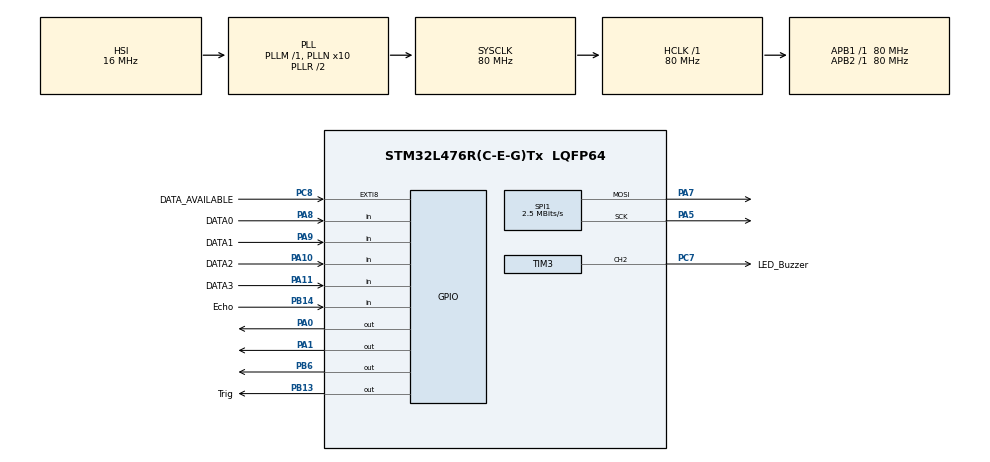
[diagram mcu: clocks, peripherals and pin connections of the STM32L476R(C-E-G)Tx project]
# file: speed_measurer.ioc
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Mcu.Family=STM32L4
Mcu.Name=STM32L476R(C-E-G)Tx
Mcu.Package=LQFP64
NVIC.EXTI9_5_IRQn=true\:0\:0\:false\:false\:true\:true\:true\:true
NVIC.PriorityGroup=NVIC_PRIORITYGROUP_4
PA0.Signal=GPIO_Output
PA1.Signal=GPIO_Output
PA10.GPIO_Label=DATA2
PA10.Signal=GPIO_Input
PA11.GPIO_Label=DATA3
PA11.Signal=GPIO_Input
PA13\ (JTMS-SWDIO).GPIO_Label=TMS
PA13\ (JTMS-SWDIO).Mode=Serial_Wire
PA13\ (JTMS-SWDIO).Signal=SYS_JTMS-SWDIO
PA14\ (JTCK-SWCLK).GPIO_Label=TCK
PA14\ (JTCK-SWCLK).Mode=Serial_Wire
PA14\ (JTCK-SWCLK).Signal=SYS_JTCK-SWCLK
PA5.Mode=TX_Only_Simplex_Unidirect_Master
PA5.Signal=SPI1_SCK
PA7.Mode=TX_Only_Simplex_Unidirect_Master
PA7.Signal=SPI1_MOSI
PA8.GPIO_Label=DATA0
PA8.Signal=GPIO_Input
PA9.GPIO_Label=DATA1
PA9.Signal=GPIO_Input
PB13.GPIO_Label=Trig
PB13.Signal=GPIO_Output
PB14.GPIO_Label=Echo
PB14.Signal=GPIO_Input
PB3\ (JTDO-TRACESWO).GPIO_Label=SWO
PB3\ (JTDO-TRACESWO).Signal=SYS_JTDO-SWO
PB6.Signal=GPIO_Output
PC14-OSC32_IN\ (PC14).Mode=LSE-External-Oscillator
PC14-OSC32_IN\ (PC14).Signal=RCC_OSC32_IN
PC15-OSC32_OUT\ (PC15).Mode=LSE-External-Oscillator
PC15-OSC32_OUT\ (PC15).Signal=RCC_OSC32_OUT
PC7.GPIO_Label=LED_Buzzer
PC7.Signal=S_TIM3_CH2
PC8.GPIO_Label=DATA_AVAILABLE
PC8.Signal=GPXTI8
PH0-OSC_IN\ (PH0).Mode=HSE-External-Oscillator
PH0-OSC_IN\ (PH0).Signal=RCC_OSC_IN
PH1-OSC_OUT\ (PH1).Mode=HSE-External-Oscillator
PH1-OSC_OUT\ (PH1).Signal=RCC_OSC_OUT
ProjectManager.HeapSize=0x200
ProjectManager.StackSize=0x400
ProjectManager.TargetToolchain=STM32CubeIDE
RCC.ADCFreq_Value=64000000
RCC.AHBFreq_Value=80000000
RCC.APB1Freq_Value=80000000
RCC.APB1TimFreq_Value=80000000
RCC.APB2Freq_Value=80000000
RCC.APB2TimFreq_Value=80000000
RCC.CortexFreq_Value=80000000
RCC.HCLKFreq_Value=80000000
RCC.HSE_VALUE=8000000
RCC.HSI_VALUE=16000000
RCC.MSI_VALUE=4000000
RCC.PLLN=10
RCC.PLLSourceVirtual=RCC_PLLSOURCE_HSI
RCC.PREFETCH_ENABLE=1
RCC.SYSCLKFreq_VALUE=80000000
RCC.SYSCLKSource=RCC_SYSCLKSOURCE_PLLCLK
RCC.USBFreq_Value=64000000
RCC.VCOOutputFreq_Value=160000000
SH.S_TIM3_CH2.0=TIM3_CH2,PWM Generation2 CH2
SPI1.BaudRatePrescaler=SPI_BAUDRATEPRESCALER_32
SPI1.CalculateBaudRate=2.5 MBits/s
SPI1.DataSize=SPI_DATASIZE_8BIT
SPI1.Direction=SPI_DIRECTION_2LINES
SPI1.Mode=SPI_MODE_MASTER
SPI1.VirtualType=VM_MASTER
TIM1.Prescaler=79
TIM3.AutoReloadPreload=TIM_AUTORELOAD_PRELOAD_ENABLE
TIM3.Channel-PWM\ Generation2\ CH2=TIM_CHANNEL_2
TIM3.Period=39999
VP_TIM1_VS_ClockSourceINT.Mode=Internal
VP_TIM3_VS_ClockSourceINT.Mode=Internal
board=NUCLEO-L476RG

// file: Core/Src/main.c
/* USER CODE BEGIN Header */
/**
  ******************************************************************************
  * @file           : main.c
  * @brief          : Main program body
  ******************************************************************************
  * @attention
  *
  * Copyright (c) 2025 STMicroelectronics.
  * All rights reserved.
  *
  * This software is licensed under terms that can be found in the LICENSE file
  * in the root directory of this software component.
  * If no LICENSE file comes with this software, it is provided AS-IS.
  *
  ******************************************************************************
  */
/* USER CODE END Header */
#include "main.h"

/* USER CODE BEGIN Includes */
#include <math.h>
#include <stdio.h>
#include <stdint.h>
/* USER CODE END Includes */

/* USER CODE BEGIN PM */
#define CE_PORT GPIOB 		// PB6 chip enable (aka slave select)
#define CE_PIN GPIO_PIN_6
#define DC_PORT GPIOA 		// PA0 data/control
#define DC_PIN GPIO_PIN_0
#define RESET_PORT GPIOA 	// PA1 reset
#define RESET_PIN GPIO_PIN_1
#define GLCD_WIDTH 84
#define GLCD_HEIGHT 48
#define NUM_BANKS 6
/* USER CODE END PM */

SPI_HandleTypeDef hspi1;

TIM_HandleTypeDef htim1;
TIM_HandleTypeDef htim3;

/* USER CODE BEGIN PV */
uint32_t pMillis;
uint32_t val1 = 0;
uint32_t val2 = 0;
uint16_t distance  = 0;
uint16_t old_distance = 0;
uint16_t next_bank = 42;
uint8_t speed_limit_digits = 0; // start the speed limit at 0
uint8_t caution_speed = 0; 		// start the caution speed limit at 0
int speed = 0;
int speed250 = 0;

const char font_table[][6] = {
	{0x00, 0x00, 0x00, 0x00, 0x00, 0x00}, // space	0
	{0x7E, 0x11, 0x11, 0x11, 0x7E, 0x00}, // 'A'	1
	{0x7F, 0x49, 0x49, 0x49, 0x36, 0x00}, // 'B'	2
	{0x3E, 0x41, 0x41, 0x41, 0x22, 0x00}, // 'C'	3
	{0x00, 0x7F, 0x41, 0x41, 0x22, 0x1C}, // 'D'	4
	{0x00, 0x7F, 0x49, 0x49, 0x49, 0x49}, // 'E'	5
	{0x00, 0x7F, 0x09, 0x09, 0x09, 0x09}, // 'F'	6
	{0x3E, 0x41, 0x49, 0x49, 0x49, 0x7A}, // 'G'	7
	{0x7F, 0x08, 0x08, 0x08, 0x7F, 0x00}, // 'H'	8
	{0x00, 0x41, 0x7F, 0x41, 0x00, 0x00}, // 'I'	9
	{0x30, 0x40, 0x40, 0x40, 0x3F, 0x00}, // 'J'	10
	{0x7F, 0x08, 0x14, 0x22, 0x41, 0x00}, // 'K'	11
	{0x00, 0x7F, 0x40, 0x40, 0x40, 0x40}, // 'L'	12
	{0x7F, 0x02, 0x0C, 0x02, 0x7F, 0x00}, // 'M'	13
	{0x7F, 0x04, 0x08, 0x10, 0x7F, 0x00}, // 'N'	14
	{0x3E, 0x41, 0x41, 0x41, 0x3E, 0x00}, // 'O'	15
	{0x7F, 0x09, 0x09, 0x09, 0x06, 0x00}, // 'P'	16
	{0x3E, 0x41, 0x51, 0x21, 0x5E, 0x00}, // 'Q'	17
	{0x7F, 0x09, 0x19, 0x29, 0x46, 0x00}, // 'R'	18
	{0x46, 0x49, 0x49, 0x49, 0x31, 0x00}, // 'S'	19
	{0x01, 0x01, 0x7F, 0x01, 0x01, 0x00}, // 'T'	20
	{0x3F, 0x40, 0x40, 0x40, 0x3F, 0x00}, // 'U'	21
	{0x1F, 0x20, 0x40, 0x20, 0x1F, 0x00}, // 'V'	22
	{0x3F, 0x40, 0x38, 0x40, 0x3F, 0x00}, // 'W'	23
	{0x63, 0x14, 0x08, 0x14, 0x63, 0x00}, // 'X'	24
	{0x07, 0x08, 0x70, 0x08, 0x07, 0x00}, // 'Y'	25
	{0x61, 0x51, 0x49, 0x45, 0x43, 0x00}, // 'Z'	26
	{0x00, 0x00, 0x5F, 0x00, 0x00, 0x00}, // '!'	27
	{0x00, 0x00, 0x7E, 0x81, 0xB5, 0xA1}, // smile_left 28
	{0xA1, 0xB5, 0x81, 0x7E, 0x00, 0x00}, // smile_right 29
	{0x00, 0x3E, 0x41, 0x41, 0x3E, 0x00}, // '0'	30
	{0x00, 0x00, 0x42, 0x7F, 0x40, 0x00}, // '1'	31
	{0x62, 0x51, 0x49, 0x49, 0x46, 0x00}, // '2'	32
	{0x22, 0x41, 0x49, 0x49, 0x36, 0x00}, // '3'	33
	{0x18, 0x14, 0x12, 0x7F, 0x10, 0x00}, // '4'	34
	{0x27, 0x45, 0x45, 0x45, 0x39, 0x00}, // '5'	35
	{0x3E, 0x49, 0x49, 0x49, 0x32, 0x00}, // '6'	36
	{0x01, 0x01, 0x71, 0x09, 0x07, 0x00}, // '7'	37
	{0x36, 0x49, 0x49, 0x49, 0x36, 0x00}, // '8'	38
	{0x26, 0x49, 0x49, 0x49, 0x3E, 0x00}, // '9'	39
	{0x22, 0x14, 0x7F, 0x14, 0x22, 0x00}, // '*'	40
	{0x12, 0x3F, 0x12, 0x3F, 0x12, 0x00}, // '#'	41
	{0x00, 0x00, 0x40, 0x00, 0x00, 0x00}, // '.'	42
	{0x00, 0x08, 0x08, 0x08, 0x08, 0x00}  // '-'	43
};
/* USER CODE END PV */

void SystemClock_Config(void);
static void MX_GPIO_Init(void);
static void MX_SPI1_Init(void);
static void MX_TIM1_Init(void);
static void MX_TIM3_Init(void);
/* USER CODE BEGIN PFP */
void SPI_write(unsigned char data);
void GLCD_data_write(unsigned char data);
void GLCD_command_write(unsigned char data);
void GLCD_init(void);
void GLCD_setCursor(unsigned char x, unsigned char y);
void GLCD_clear(void);
void GLCD_putchar(int font_table_row);

uint8_t keypad_decode();
void GLCD_puts(const char* str);
void display_distance(uint16_t distance_cm);
void display_distance_ft(uint16_t distance_ft);
void display_distance_in(uint16_t distance_in);
void display_caution_speed(uint16_t caution_speed);
void display_speed_limit(uint16_t speed_limit);
void display_speed(int speed);
/* USER CODE END PFP */

int main(void)
{

  /* MCU Configuration--------------------------------------------------------*/

  /* Reset of all peripherals, Initializes the Flash interface and the Systick. */
  HAL_Init();

  /* Configure the system clock */
  SystemClock_Config();

  /* Initialize all configured peripherals */
  MX_GPIO_Init();
  MX_SPI1_Init();
  MX_TIM1_Init();
  MX_TIM3_Init();
  /* USER CODE BEGIN 2 */
  /// Initialize the Timer and PWM
  HAL_TIM_Base_Start(&htim1);
  HAL_TIM_PWM_Start(&htim3, TIM_CHANNEL_2); // start PWM on Timer3’s Channel 2

  /// Initialize the GLCD
  GLCD_init(); 	// initialize the screen
  GLCD_clear(); // clear the screen

  // Display "SPEED LIMIT "
  GLCD_setCursor(0,0); // set the cursor to the top left corner
  uint16_t speed_limit[] = {19, 16, 5, 5, 4, 0, 12, 9, 13, 9, 20, 0}; 	// "SPEED LIMIT " array
  for (int i = 0; i < 12; i++) {
	  GLCD_putchar(speed_limit[i]); 									// display "SPEED LIMIT "
  }

  // Display " 0 MPH"
  speed_limit_digits = 0; 				// start the speed limit at 0
  GLCD_setCursor(0, 1); 				// set the cursor to the second row
  GLCD_putchar(speed_limit_digits);		// '0'
  GLCD_putchar(0);						// ' '
  GLCD_putchar(13);						// 'M'
  GLCD_putchar(16);						// 'P'
  GLCD_putchar(8);						// 'H'

  // Display " # YOUR SPEED"
  GLCD_setCursor(0, 3); // set the cursor to the forth row
  uint16_t your_speed[] = {0, 0, 41, 0, 25, 15, 21, 18, 0, 19, 16, 5, 5, 4}; // " # YOUR SPEED" array
  for (int j = 0; j < 14; j++) {
  	  GLCD_putchar(your_speed[j]); 											 // display " # YOUR SPEED"
  }

  // Display " 0 FT  0 IN"
  GLCD_setCursor(0,5); // set the cursor to the sixth row
  uint16_t ft_in[] = {0, 30, 0, 6, 20, 0, 0, 30, 0, 9, 14}; // " 0 FT  0 IN" array
  for (int k = 0; k < 11; k++) {
      GLCD_putchar(ft_in[k]); 								// display " 0 FT  0 IN"
  }

  /// Sources for Help
  // https://randomnerdtutorials.com/complete-guide-for-ultrasonic-sensor-hc-sr04/
  // https://randomnerdtutorials.com/esp32-esp8266-nodemcu-hc-sr04-ultrasonic-sensor/
  // https://ecelabs.njit.edu/fed101/resources/HC-SR04%20Ultrasonic%20Sensor.pdf
  // https://www.electronicwings.com/nodemcu/hc-sr04-ultrasonic-sensor-interfacing-with-nodemcu

  /* USER CODE END 2 */

  /* Infinite loop */
  /* USER CODE BEGIN WHILE */
  while (1)
  {
	  /// Display the Speed Limit
	  GLCD_setCursor(0, 1); 					// set the cursor to the second row
	  GLCD_putchar(speed_limit_digits + 30);	// display the speed limit

	  /// Ultrasonic Sensor Logic to Calculate Distance
  	  // Send the ultrasonic wave for 10 microseconds
	  HAL_GPIO_WritePin(Trig_GPIO_Port, Trig_Pin, GPIO_PIN_SET); 	// set the Trig pin high
	  __HAL_TIM_SET_COUNTER(&htim1, 0);								// reset the counter
	  while (__HAL_TIM_GET_COUNTER (&htim1) < 10);  				// wait for 10 us (microseconds)
	  HAL_GPIO_WritePin(Trig_GPIO_Port, Trig_Pin, GPIO_PIN_RESET); 	// set the Trig pin low

	  // Record the time it takes for the wave to return
	  pMillis = HAL_GetTick();
	  while (!(HAL_GPIO_ReadPin (Echo_GPIO_Port, Echo_Pin)) && ((pMillis + 10) >  HAL_GetTick())); // wait for the Echo pin to go high
	  val1 = __HAL_TIM_GET_COUNTER(&htim1); 						// record the time

	  // wait for the Echo pin to go low
	  pMillis = HAL_GetTick();
	  while ((HAL_GPIO_ReadPin (Echo_GPIO_Port, Echo_Pin)) && ((pMillis + 50) > HAL_GetTick())); // wait for the Echo pin to go low
	  val2 = __HAL_TIM_GET_COUNTER(&htim1); 						// record the time

	  // calculate the distance in cm
	  distance = (val2-val1) * 0.034/2;

	  /// Speed Logic and Display
	  float speedf250 = (old_distance - distance) * 0.089476; 	// calculate the speed in mph
	  speed250 = (int) speedf250; 								// convert the speed to an integer

	  display_speed(speed250); 									// Display the speed of the car

	  /// Display the Distance in Feet and Inches
	  uint16_t inches = distance * 0.393701; // convert the distance from cm to inches
	  uint16_t feet = inches / 12;
	  inches %= 12; 						 // get the remainder of inches

	  display_distance_ft(feet);
	  display_distance_in(inches);

	  /// Update the old distance to be used in the next iteration
	  old_distance = distance;

	  /// Red LED Logic
	  caution_speed = speed_limit_digits * 0.8; // set the caution speed limit to 20% below the speed limit
      int PWM_PERIOD = 39999; 					// how many clock cycles for each PWM period
      int current_speed = speed250;

      if (current_speed < 0){ 					// if the speed is negative (aka car is moving away from the sensor)
		  current_speed *= -1;					// make the speed positive
	  }

      if (current_speed < caution_speed){		// if the speed is less than the caution speed limit
		  TIM3->CCR2 = (int) (0); 				// store 0% duty cycle (aka red LED off)
  	  } else if (current_speed >= caution_speed && current_speed < speed_limit_digits){	// if the speed is greater than the caution speed limit and less than the speed limit
		  TIM3->CCR2 = (int) (0.1 * PWM_PERIOD);// store 10% duty cycle (aka red LED on dim)
	  }
	  else { 									// if the speed is greater than the speed limit
		  TIM3->CCR2 = (int) (PWM_PERIOD); 		// store 100% duty cycle (aka red LED on bright)
	  }

	  /// Wait for 250 milliseconds
	  HAL_Delay(250);

    /* USER CODE END WHILE */

  }
}

void SystemClock_Config(void)
{
  RCC_OscInitTypeDef RCC_OscInitStruct = {0};
  RCC_ClkInitTypeDef RCC_ClkInitStruct = {0};

  /** Configure the main internal regulator output voltage
  */
  if (HAL_PWREx_ControlVoltageScaling(PWR_REGULATOR_VOLTAGE_SCALE1) != HAL_OK)
  {
    Error_Handler();
  }

  /** Initializes the RCC Oscillators according to the specified parameters
  * in the RCC_OscInitTypeDef structure.
  */
  RCC_OscInitStruct.OscillatorType = RCC_OSCILLATORTYPE_HSI;
  RCC_OscInitStruct.HSIState = RCC_HSI_ON;
  RCC_OscInitStruct.HSICalibrationValue = RCC_HSICALIBRATION_DEFAULT;
  RCC_OscInitStruct.PLL.PLLState = RCC_PLL_ON;
  RCC_OscInitStruct.PLL.PLLSource = RCC_PLLSOURCE_HSI;
  RCC_OscInitStruct.PLL.PLLM = 1;
  RCC_OscInitStruct.PLL.PLLN = 10;
  RCC_OscInitStruct.PLL.PLLP = RCC_PLLP_DIV7;
  RCC_OscInitStruct.PLL.PLLQ = RCC_PLLQ_DIV2;
  RCC_OscInitStruct.PLL.PLLR = RCC_PLLR_DIV2;
  if (HAL_RCC_OscConfig(&RCC_OscInitStruct) != HAL_OK)
  {
    Error_Handler();
  }

  /** Initializes the CPU, AHB and APB buses clocks
  */
  RCC_ClkInitStruct.ClockType = RCC_CLOCKTYPE_HCLK|RCC_CLOCKTYPE_SYSCLK
                              |RCC_CLOCKTYPE_PCLK1|RCC_CLOCKTYPE_PCLK2;
  RCC_ClkInitStruct.SYSCLKSource = RCC_SYSCLKSOURCE_PLLCLK;
  RCC_ClkInitStruct.AHBCLKDivider = RCC_SYSCLK_DIV1;
  RCC_ClkInitStruct.APB1CLKDivider = RCC_HCLK_DIV1;
  RCC_ClkInitStruct.APB2CLKDivider = RCC_HCLK_DIV1;

  if (HAL_RCC_ClockConfig(&RCC_ClkInitStruct, FLASH_LATENCY_4) != HAL_OK)
  {
    Error_Handler();
  }
}

static void MX_SPI1_Init(void)
{

  /* SPI1 parameter configuration*/
  hspi1.Instance = SPI1;
  hspi1.Init.Mode = SPI_MODE_MASTER;
  hspi1.Init.Direction = SPI_DIRECTION_2LINES;
  hspi1.Init.DataSize = SPI_DATASIZE_8BIT;
  hspi1.Init.CLKPolarity = SPI_POLARITY_LOW;
  hspi1.Init.CLKPhase = SPI_PHASE_1EDGE;
  hspi1.Init.NSS = SPI_NSS_SOFT;
  hspi1.Init.BaudRatePrescaler = SPI_BAUDRATEPRESCALER_32;
  hspi1.Init.FirstBit = SPI_FIRSTBIT_MSB;
  hspi1.Init.TIMode = SPI_TIMODE_DISABLE;
  hspi1.Init.CRCCalculation = SPI_CRCCALCULATION_DISABLE;
  hspi1.Init.CRCPolynomial = 7;
  hspi1.Init.CRCLength = SPI_CRC_LENGTH_DATASIZE;
  hspi1.Init.NSSPMode = SPI_NSS_PULSE_ENABLE;
  if (HAL_SPI_Init(&hspi1) != HAL_OK)
  {
    Error_Handler();
  }

}

static void MX_TIM1_Init(void)
{

  TIM_ClockConfigTypeDef sClockSourceConfig = {0};
  TIM_MasterConfigTypeDef sMasterConfig = {0};

  htim1.Instance = TIM1;
  htim1.Init.Prescaler = 79;
  htim1.Init.CounterMode = TIM_COUNTERMODE_UP;
  htim1.Init.Period = 65535;
  htim1.Init.ClockDivision = TIM_CLOCKDIVISION_DIV1;
  htim1.Init.RepetitionCounter = 0;
  htim1.Init.AutoReloadPreload = TIM_AUTORELOAD_PRELOAD_DISABLE;
  if (HAL_TIM_Base_Init(&htim1) != HAL_OK)
  {
    Error_Handler();
  }
  sClockSourceConfig.ClockSource = TIM_CLOCKSOURCE_INTERNAL;
  if (HAL_TIM_ConfigClockSource(&htim1, &sClockSourceConfig) != HAL_OK)
  {
    Error_Handler();
  }
  sMasterConfig.MasterOutputTrigger = TIM_TRGO_RESET;
  sMasterConfig.MasterOutputTrigger2 = TIM_TRGO2_RESET;
  sMasterConfig.MasterSlaveMode = TIM_MASTERSLAVEMODE_DISABLE;
  if (HAL_TIMEx_MasterConfigSynchronization(&htim1, &sMasterConfig) != HAL_OK)
  {
    Error_Handler();
  }

}

static void MX_TIM3_Init(void)
{

  TIM_ClockConfigTypeDef sClockSourceConfig = {0};
  TIM_MasterConfigTypeDef sMasterConfig = {0};
  TIM_OC_InitTypeDef sConfigOC = {0};

  htim3.Instance = TIM3;
  htim3.Init.Prescaler = 0;
  htim3.Init.CounterMode = TIM_COUNTERMODE_UP;
  htim3.Init.Period = 39999;
  htim3.Init.ClockDivision = TIM_CLOCKDIVISION_DIV1;
  htim3.Init.AutoReloadPreload = TIM_AUTORELOAD_PRELOAD_ENABLE;
  if (HAL_TIM_Base_Init(&htim3) != HAL_OK)
  {
    Error_Handler();
  }
  sClockSourceConfig.ClockSource = TIM_CLOCKSOURCE_INTERNAL;
  if (HAL_TIM_ConfigClockSource(&htim3, &sClockSourceConfig) != HAL_OK)
  {
    Error_Handler();
  }
  if (HAL_TIM_PWM_Init(&htim3) != HAL_OK)
  {
    Error_Handler();
  }
  sMasterConfig.MasterOutputTrigger = TIM_TRGO_RESET;
  sMasterConfig.MasterSlaveMode = TIM_MASTERSLAVEMODE_DISABLE;
  if (HAL_TIMEx_MasterConfigSynchronization(&htim3, &sMasterConfig) != HAL_OK)
  {
    Error_Handler();
  }
  sConfigOC.OCMode = TIM_OCMODE_PWM1;
  sConfigOC.Pulse = 0;
  sConfigOC.OCPolarity = TIM_OCPOLARITY_HIGH;
  sConfigOC.OCFastMode = TIM_OCFAST_DISABLE;
  if (HAL_TIM_PWM_ConfigChannel(&htim3, &sConfigOC, TIM_CHANNEL_2) != HAL_OK)
  {
    Error_Handler();
  }
  HAL_TIM_MspPostInit(&htim3);

}

static void MX_GPIO_Init(void)
{
  GPIO_InitTypeDef GPIO_InitStruct = {0};

  /* GPIO Ports Clock Enable */
  __HAL_RCC_GPIOC_CLK_ENABLE();
  __HAL_RCC_GPIOH_CLK_ENABLE();
  __HAL_RCC_GPIOA_CLK_ENABLE();
  __HAL_RCC_GPIOB_CLK_ENABLE();

  /*Configure GPIO pin Output Level */
  HAL_GPIO_WritePin(GPIOA, GPIO_PIN_0|GPIO_PIN_1, GPIO_PIN_RESET);

  /*Configure GPIO pin Output Level */
  HAL_GPIO_WritePin(GPIOB, Trig_Pin|GPIO_PIN_6, GPIO_PIN_RESET);

  /*Configure GPIO pins : PA0 PA1 */
  GPIO_InitStruct.Pin = GPIO_PIN_0|GPIO_PIN_1;
  GPIO_InitStruct.Mode = GPIO_MODE_OUTPUT_PP;
  GPIO_InitStruct.Pull = GPIO_NOPULL;
  GPIO_InitStruct.Speed = GPIO_SPEED_FREQ_LOW;
  HAL_GPIO_Init(GPIOA, &GPIO_InitStruct);

  /*Configure GPIO pins : Trig_Pin PB6 */
  GPIO_InitStruct.Pin = Trig_Pin|GPIO_PIN_6;
  GPIO_InitStruct.Mode = GPIO_MODE_OUTPUT_PP;
  GPIO_InitStruct.Pull = GPIO_NOPULL;
  GPIO_InitStruct.Speed = GPIO_SPEED_FREQ_LOW;
  HAL_GPIO_Init(GPIOB, &GPIO_InitStruct);

  /*Configure GPIO pin : Echo_Pin */
  GPIO_InitStruct.Pin = Echo_Pin;
  GPIO_InitStruct.Mode = GPIO_MODE_INPUT;
  GPIO_InitStruct.Pull = GPIO_NOPULL;
  HAL_GPIO_Init(Echo_GPIO_Port, &GPIO_InitStruct);

  /*Configure GPIO pin : DATA_AVAILABLE_Pin */
  GPIO_InitStruct.Pin = DATA_AVAILABLE_Pin;
  GPIO_InitStruct.Mode = GPIO_MODE_IT_RISING;
  GPIO_InitStruct.Pull = GPIO_NOPULL;
  HAL_GPIO_Init(DATA_AVAILABLE_GPIO_Port, &GPIO_InitStruct);

  /*Configure GPIO pins : DATA0_Pin DATA1_Pin DATA2_Pin DATA3_Pin */
  GPIO_InitStruct.Pin = DATA0_Pin|DATA1_Pin|DATA2_Pin|DATA3_Pin;
  GPIO_InitStruct.Mode = GPIO_MODE_INPUT;
  GPIO_InitStruct.Pull = GPIO_NOPULL;
  HAL_GPIO_Init(GPIOA, &GPIO_InitStruct);

  /* EXTI interrupt init*/
  HAL_NVIC_SetPriority(EXTI9_5_IRQn, 0, 0);
  HAL_NVIC_EnableIRQ(EXTI9_5_IRQn);

}

/* USER CODE BEGIN 4 */
void SPI_write(unsigned char data){
	// Chip Enable (low is asserted)
	HAL_GPIO_WritePin(CE_PORT, CE_PIN, GPIO_PIN_RESET);
	// Send data over SPI1
	HAL_SPI_Transmit(&hspi1, (uint8_t*) &data, 1, HAL_MAX_DELAY);
	// Chip Disable
	HAL_GPIO_WritePin(CE_PORT, CE_PIN, GPIO_PIN_SET);
}

void GLCD_data_write(unsigned char data){
	// Switch to "data" mode (D/C pin high)
	HAL_GPIO_WritePin(DC_PORT, DC_PIN, GPIO_PIN_SET);
	// Send data over SPI
	SPI_write(data);
}

void GLCD_command_write(unsigned char data){
	// Switch to "command" mode (D/C pin low)
	HAL_GPIO_WritePin(DC_PORT, DC_PIN, GPIO_PIN_RESET);
	// Send data over SPI
	SPI_write(data);
}

void GLCD_init(void){
	// Keep CE high when not transmitting
	HAL_GPIO_WritePin(CE_PORT, CE_PIN, GPIO_PIN_SET);
	// Reset the screen (low pulse - down & up)
	HAL_GPIO_WritePin(RESET_PORT, RESET_PIN, GPIO_PIN_RESET);
	HAL_GPIO_WritePin(RESET_PORT, RESET_PIN, GPIO_PIN_SET);
	// Configure the screen (according to the datasheet)
	GLCD_command_write(0x21); // enter extended command mode
	GLCD_command_write(0xB0); // set LCD Vop for contrast (this may be adjusted)
	GLCD_command_write(0x04); // set temp coefficient
	GLCD_command_write(0x15); // set LCD bias mode (this may be adjusted)
	GLCD_command_write(0x20); // return to normal command mode
	GLCD_command_write(0x0C); // set display mode normal
}

void GLCD_setCursor(unsigned char x, unsigned char y){
	GLCD_command_write(0x80 | x); // column
	GLCD_command_write(0x40 | y); // bank
}

void GLCD_clear(void){
	int i;
	for(i = 0; i < (GLCD_WIDTH * NUM_BANKS); i++){
	GLCD_data_write(0x00); 	// write zeros
	}
	GLCD_setCursor(0,0); 	// return cursor to top left
}

void GLCD_putchar(int font_table_row){
	 int i;
	 for (i=0; i<6; i++){
	 GLCD_data_write(font_table[font_table_row][i]);
	 }
}

void HAL_GPIO_EXTI_Callback(uint16_t GPIO_Pin) {
	// Check if the interrupt was for Data Available Pin
	if (HAL_GPIO_ReadPin(DATA_AVAILABLE_GPIO_Port, DATA_AVAILABLE_Pin) == GPIO_PIN_SET) {
		GLCD_setCursor(next_bank,0); // set the cursor
		next_bank += 6; // move to the next bank

		// Read data
		uint8_t key = keypad_decode();  // determine which key was pressed

		// Based on what key was pressed, do something (each case)
		switch (key) {
			case 0xA: // button "A" was pressed
//				GLCD_putchar(1); // 'A'
				break; // end case 0xA

			case 0xB: // button "B" was pressed
//				GLCD_putchar(2); // 'B'
				break; // end case 0xB

			case 0xC: // button "C" was pressed
//				GLCD_putchar(3); // 'C'
				break; // end case 0xC

			case 0xD: // button "D" was pressed
//				GLCD_putchar(4); // 'D'
				break; // end case 0xD

			case 0xE: // button E (*) was pressed
//				GLCD_putchar(40); // '*'
				break;

			case 0xF: // button F (#) was pressed
//				GLCD_putchar(41); // '#'
				break;

			case 0x0: // button "0" was pressed
//				GLCD_putchar(30); // '0'
				speed_limit_digits = 0;
				break;

			case 0x1: // button "1" was pressed
//				GLCD_putchar(31); // '1'
				speed_limit_digits = 1;
				break;

			case 0x2: // button "2" was pressed
//				GLCD_putchar(32); // '2'
				speed_limit_digits = 2;
				break;

			case 0x3: // button "3" was pressed
//				GLCD_putchar(33); // '3'
				speed_limit_digits = 3;
				break;

			case 0x4: // button "4" was pressed
//				GLCD_putchar(34); // '4'
				speed_limit_digits = 4;
				break;

			case 0x5: // button "5" was pressed
//				GLCD_putchar(35); // '5'
				speed_limit_digits = 5;
				break;

			case 0x6: // button "6" was pressed
//				GLCD_putchar(36); // '6'
				speed_limit_digits = 6;
				break;

			case 0x7: // button "7" was pressed
//				GLCD_putchar(37); // '7'
				speed_limit_digits = 7;
				break;

			case 0x8: // button "8" was pressed
//				GLCD_putchar(38); // '8'
				speed_limit_digits = 8;
				break;

			case 0x9: // button "9" was pressed
//				GLCD_putchar(39); // '9'
				speed_limit_digits = 9;
				break;
		}

	}

}

// This function reads the four data pins from the keypad encoder and maps them to the key value
unsigned char keypad_decode() {
	unsigned char key = 0x0;
	unsigned char data = 0b0000;

	// read the data pins and combine into the 4-bit value: D3_D2_D1_D0
	data |= (HAL_GPIO_ReadPin(DATA3_GPIO_Port, DATA3_Pin) << 3);
	data |= (HAL_GPIO_ReadPin(DATA2_GPIO_Port, DATA2_Pin) << 2);
	data |= (HAL_GPIO_ReadPin(DATA1_GPIO_Port, DATA1_Pin) << 1);
	data |= (HAL_GPIO_ReadPin(DATA0_GPIO_Port, DATA0_Pin) << 0);

	// The key encoder gives the following "data" values:
	// 0 1 2 3
	// 4 5 6 7
	// 8 9 A B
	// C D E F

	// The following switch statement re-maps it to these "key" names:
	// 1 2 3 A
	// 4 5 6 B
	// 7 8 9 C
	// E 0 F D, where E is "*" and F is "#"

   // Finish this switch statement to remap the "data" to the correct "key"
	switch (data) {
      case 0x0:
         key = 0x1;
         break;
      case 0x1:
         key = 0x2;
         break;
      case 0x2:
         key = 0x3;
         break;
      case 0x3:
         key = 0xA;
         break;
      case 0x4:
         key = 0x4;
         break;
      case 0x5:
         key = 0x5;
         break;
      case 0x6:
         key = 0x6;
         break;
      case 0x7:
         key = 0xB;
         break;
      case 0x8:
         key = 0x7;
         break;
      case 0x9:
         key = 0x8;
         break;
      case 0xA:
         key = 0x9;
         break;
      case 0xB:
         key = 0xC;
         break;
      case 0xC:
         key = 0xE; // *
         break;
      case 0xD:
         key = 0x0;
         break;
      case 0xE:
         key = 0xF; // #
         break;
      case 0xF:
         key = 0xD;
         break;
	}

	return key;
}

void GLCD_puts(const char* str) {
    while (*str) {
        if (*str >= '0' && *str <= '9') {	// If the character is a number
            GLCD_putchar(*str - '0' + 30); 	// Convert char to font_table index
        } else if (*str == '-') {
        	GLCD_putchar(43); 				// Put '-' (negative sign)
        }
        else if (*str == ' ') {
        	GLCD_putchar(0); 				// Put ' ' (space)
		}
		str++;
	}
}

void display_speed(int speed) {
    char buffer[4]; 		// Buffer to hold the speed string, including space for the negative sign
    snprintf(buffer, sizeof(buffer), "%3d", speed); // Convert speed to string with 3 characters width
    GLCD_setCursor(0, 3); 	// Set cursor to the forth row
    GLCD_puts(buffer); 		// Display the speed string
}

void display_distance(uint16_t distance_cm) {
    char buffer[5]; 		// Buffer to hold the distance string
    snprintf(buffer, sizeof(buffer), "%3d", distance_cm); // Convert distance to string (3 digits)
    GLCD_setCursor(0, 2); 	// Set cursor to the third row
    GLCD_puts(buffer); 		// Display the distance string
}

void display_distance_ft(uint16_t distance_ft) {
    char buffer[3]; 		// Buffer to hold the distance string
    snprintf(buffer, sizeof(buffer), "%2d", distance_ft); // Convert distance to string (2 digits)
    GLCD_setCursor(0, 5); 	// Set cursor to the sixth row
    GLCD_puts(buffer); 		// Display the distance string
}

void display_distance_in(uint16_t distance_in) {
    char buffer[3]; 		// Buffer to hold the distance string
    snprintf(buffer, sizeof(buffer), "%2d", distance_in); // Convert distance to string (2 digits)
    GLCD_setCursor(36, 5); 	// Set cursor to the sixth row, 36th column
    GLCD_puts(buffer); 		// Display the distance string
}

/* USER CODE END 4 */

void Error_Handler(void)
{
  __disable_irq();
  while (1)
  {
  }
}
